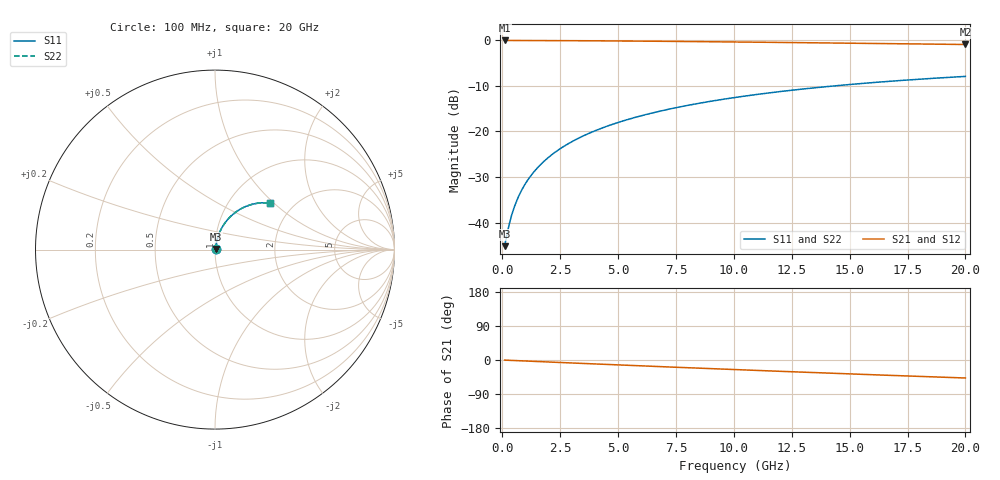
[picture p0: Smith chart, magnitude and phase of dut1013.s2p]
! Touchstone file exported from HFSS 2026.1.0
!  File:  C:/ffzhzh/LocalFiles/Ansys_Project_Files/temp_train_BSMRDL_1013_1783173303_18472.aedt
!  Generated:  09:56:20 PM Jul  4, 2026
!  Design:  BSMRDL
!  Project:  temp_train_BSMRDL_1013_1783173303_18472
! Variables:
!  h_bsmrdl = 4.75um
!  h_ox = 20um
!  h_rdl = 5um
!  h_sub = 80um
!  h_tmrdl = 5um
!  h_tsv = 80um
!  h_via = 3um
!  l_bsmrdl = 752.93um
!  l_sub = 1152.93um
!  l_tmrdl = 200um
!  m_sub = 200um
!  pitch = 29.77um
!  r_tsv = 6um
!  s_tmrdl = 10um
!  w_bsmrdl = 11.89um
!  w_sub = 500um
!  w_tmrdl = 12um
!  x_tsv_center1 = 206um
!  x_tsv_center2 = 970.82um
!  x_tsv_center3 = 1182.82um
!  x_tsv_center4 = 1947.64um
!  x_tsv_center5 = 2159.64um
!  x_tsv_center6 = 2924.46um
# GHz S MA R 50.000000
! Terminal data exported
! Port[1] = BSM_RDL1_1_T1
! Port[2] = BSM_RDL1_1_T2
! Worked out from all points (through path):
!   200 points, 100 MHz to 20 GHz, reference 50 ohm
!   highest |S21| = -0.04 dB at 100 MHz (marker M1); lowest = -0.9 dB at 20 GHz (marker M2)
!   group delay of S21, straight-line fit = 6.59 ps
!   lowest |S11| = -45.2 dB at 100 MHz (marker M3), VSWR 1.01, Z = 50.5 + j0.28 ohm
!   |S11| at or under -10 dB: start of sweep to 14.36 GHz
!   |S22| runs from -45.2 to -7.9 dB; largest |S21 - S12| = 3.6e-15
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0.1  0.005512 30.2  0.9952 -0.3  0.9952 -0.3  0.005512 30.2
! Gamma 0 0 0 0
! Port Impedance 50 0 50 0
0.2  0.00737 48.0  0.9951 -0.5  0.9951 -0.5  0.00737 48.0
0.3  0.009603 57.7  0.9949 -0.8  0.9949 -0.8  0.009603 57.7
0.4  0.01196 63.4  0.9948 -1.1  0.9948 -1.1  0.01196 63.4
0.5  0.01437 67.2  0.9947 -1.3  0.9947 -1.3  0.01437 67.2
0.6  0.01682 69.8  0.9945 -1.6  0.9945 -1.6  0.01682 69.8
0.8  0.02177 73.2  0.9943 -2.1  0.9943 -2.1  0.02177 73.2
1  0.02678 75.2  0.994 -2.7  0.994 -2.7  0.02678 75.2
1.2  0.03182 76.4  0.9938 -3.2  0.9938 -3.2  0.03182 76.4
1.4  0.03688 77.1  0.9934 -3.7  0.9934 -3.7  0.03688 77.1
1.7  0.04447 77.6  0.9929 -4.5  0.9929 -4.5  0.04447 77.6
2.2  0.05709 77.7  0.9919 -5.8  0.9919 -5.8  0.05709 77.7
2.8  0.0721 77.1  0.9904 -7.3  0.9904 -7.3  0.07211 77.1
3.5  0.08938 75.9  0.9883 -9.1  0.9883 -9.1  0.08938 75.9
4.2  0.1064 74.5  0.9859 -10.9  0.9859 -10.9  0.1064 74.5
5  0.1254 72.8  0.9828 -13.0  0.9828 -13.0  0.1254 72.8
6.8  0.1667 68.7  0.9749 -17.4  0.9749 -17.4  0.1667 68.7
8.3  0.1994 65.3  0.9675 -21.1  0.9675 -21.1  0.1994 65.3
10.1  0.2367 61.3  0.9578 -25.4  0.9578 -25.4  0.2367 61.3
13.4  0.2994 54.0  0.9387 -33.1  0.9387 -33.1  0.2994 54.0
16.7  0.3544 46.9  0.9186 -40.4  0.9186 -40.4  0.3544 46.9
20  0.4014 40.1  0.8988 -47.5  0.8988 -47.5  0.4014 40.1
